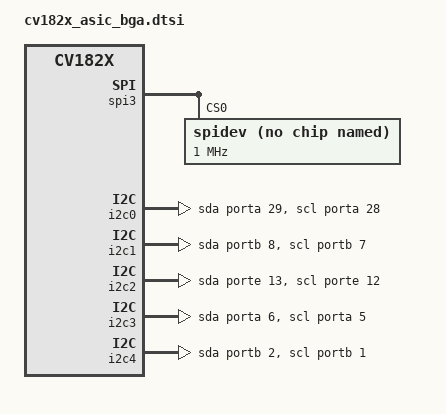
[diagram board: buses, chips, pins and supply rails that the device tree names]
/dts-v1/;
#include "cv182x_asic.dtsi"

&mipi_rx {
	snsr-reset = <&porta 2 GPIO_ACTIVE_LOW>, <&porta 2 GPIO_ACTIVE_LOW>;
};

&mipi_tx {
	reset-gpio = <&porte 2 GPIO_ACTIVE_LOW>;
	pwm-gpio = <&porte 0 GPIO_ACTIVE_HIGH>;
	power-ct-gpio = <&porte 1 GPIO_ACTIVE_HIGH>;
};

&dac{
	mute-gpio-l = <&porta 15 GPIO_ACTIVE_LOW>;
	mute-gpio-r = <&porta 30 GPIO_ACTIVE_LOW>;
};

&spi0 {
        status = "disabled";
        num-cs = <1>;
        spidev@0 {
                compatible = "rohm,dh2228fv";
                spi-max-frequency = <1000000>;
                reg = <0>;
	};
};

&spi1 {
        status = "disabled";
        num-cs = <1>;
        spidev@0 {
                compatible = "rohm,dh2228fv";
                spi-max-frequency = <1000000>;
                reg = <0>;
	};
};

&spi2 {
        status = "disabled";
        num-cs = <1>;
        spidev@0 {
                compatible = "rohm,dh2228fv";
                spi-max-frequency = <1000000>;
                reg = <0>;
	};
};

&spi3 {
        status = "okay";
        num-cs = <1>;
        spidev@0 {
                compatible = "rohm,dh2228fv";
                spi-max-frequency = <1000000>;
                reg = <0>;
	};
};

&i2c0 {
	/* FMUX_GPIO_REG iic_func_sel gpio_func_sel */
	scl-pinmux = <0x03001070 0x0 0x3>;	// IIC0_SCL/IIC0_SCL/XGPIOA[28]
	sda-pinmux = <0x03001074 0x0 0x3>;	// IIC0_SDA/IIC0_SDA/XGPIOA[29]
	/* gpio port */
	scl-gpios = <&porta 28 GPIO_ACTIVE_HIGH>;
	sda-gpios = <&porta 29 GPIO_ACTIVE_HIGH>;
};

&i2c1 {
	/* FMUX_GPIO_REG iic_func_sel gpio_func_sel */
	scl-pinmux = <0x03009408 0x2 0x3>;	// SPI1_MOSI/IIC1_SCL/XGPIOB[7]
	sda-pinmux = <0x0300940c 0x2 0x3>;	// SPI1_MISO/IIC1_SDA/XGPIOB[8]
	/* gpio port */
	scl-gpios = <&portb 7 GPIO_ACTIVE_HIGH>;
	sda-gpios = <&portb 8 GPIO_ACTIVE_HIGH>;
};

&i2c2 {
	/* FMUX_GPIO_REG iic_func_sel gpio_func_sel */
	scl-pinmux = <0x030010b8 0x4 0x3>;	// IIC2_SCL/IIC2_SCL/PWR_GPIO[12]
	sda-pinmux = <0x030010bc 0x4 0x3>;	// IIC2_SDA/IIC2_SDA/PWR_GPIO[13]
	/* gpio port */
	scl-gpios = <&porte 12 GPIO_ACTIVE_HIGH>;
	sda-gpios = <&porte 13 GPIO_ACTIVE_HIGH>;
};

&i2c3 {
	/* FMUX_GPIO_REG iic_func_sel gpio_func_sel */
	scl-pinmux = <0x03001014 0x0 0x3>;	// IIC3_SCL/IIC3_SCL/XGPIOA[5]
	sda-pinmux = <0x03001018 0x0 0x3>;	// IIC3_SDA/IIC3_SDA/XGPIOA[6]
	/* gpio port */
	scl-gpios = <&porta 5 GPIO_ACTIVE_HIGH>;
	sda-gpios = <&porta 6 GPIO_ACTIVE_HIGH>;
};

&i2c4 {
	/* FMUX_GPIO_REG iic_func_sel gpio_func_sel */
	scl-pinmux = <0x030010f0 0x2 0x3>;	// ADC3/IIC4_SCL/XGPIOB[1]
	sda-pinmux = <0x030010f4 0x2 0x3>;	// ADC2/IIC4_SDA/XGPIOB[2]
	/* gpio port */
	scl-gpios = <&portb 1 GPIO_ACTIVE_HIGH>;
	sda-gpios = <&portb 2 GPIO_ACTIVE_HIGH>;
};

/ {
	/delete-node/ wifi-sd@5000000;
	/delete-node/ i2s@04110000;
	/delete-node/ i2s@04120000;
	/delete-node/ sound_ext1;
	/delete-node/ sound_ext2;
	/delete-node/ sound_PDM;
};
